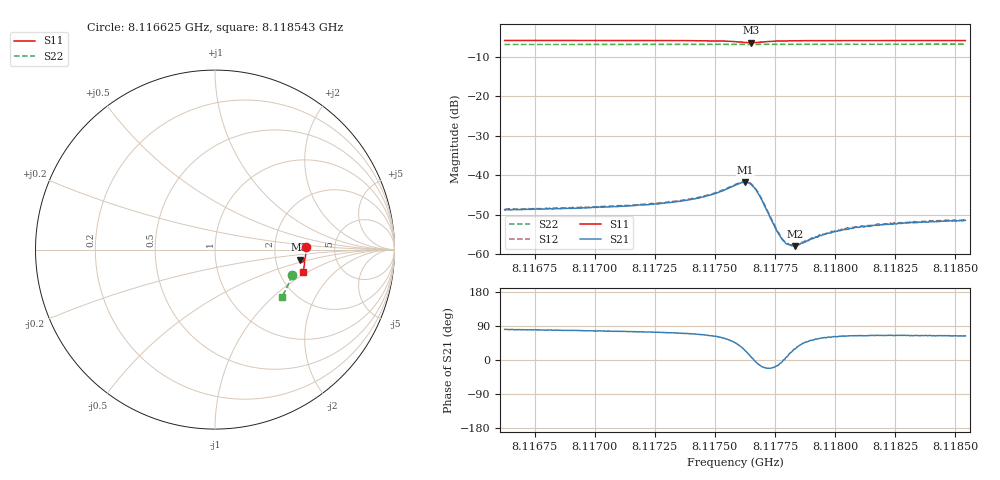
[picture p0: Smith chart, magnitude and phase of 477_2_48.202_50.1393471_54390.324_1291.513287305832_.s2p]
#  HZ  S  RI  R  50.00
! Rohde & Schwarz Vector Network Analyzer
! Rohde-Schwarz,ZNB20-2Port,1311601062101988,3.16
! Created: UTC 3/20/2024, 11:57:30 AM
! freq[Hz]  re:S11  im:S11  re:S21  im:S21  re:S12  im:S12  re:S22  im:S22
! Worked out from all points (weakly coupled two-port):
!   401 points, 8.116625 GHz to 8.118543 GHz, reference 50 ohm
!   highest |S21| = -41.81 dB at 8.117627 GHz (marker M1); lowest = -58.0 dB at 8.117833 GHz (marker M2)
!   lowest |S11| = -6.5 dB at 8.117651 GHz (marker M3), VSWR 2.80, Z = 137 - j20 ohm
!   |S11| at or under -10 dB: nowhere
!   |S22| runs from -6.9 to -6.8 dB; largest |S21 - S12| = 0.00021
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8.1166252e9  0.5069 0.0125  0.000586 0.00357  0.000639 0.00366  0.4269 -0.1434
8.1169464e9  0.5063 -0.0123  0.000837 0.00373  0.000876 0.00385  0.42 -0.1648
8.1172676e9  0.504 -0.0383  0.00127 0.00414  0.00133 0.00419  0.412 -0.1859
8.1173539e9  0.5026 -0.046  0.00151 0.0044  0.0016 0.00451  0.4099 -0.1914
8.1174498e9  0.4999 -0.0555  0.00208 0.00487  0.00216 0.00492  0.407 -0.1976
8.1175265e9  0.4948 -0.0642  0.00316 0.00537  0.00332 0.00546  0.4046 -0.2026
8.117584e9  0.4852 -0.0698  0.00518 0.00532  0.00534 0.0054  0.4026 -0.2062
8.1176272e9  0.4735 -0.0656  0.00738 0.00337  0.00756 0.00343  0.4009 -0.2085
8.1176511e9  0.471 -0.0567  0.00754 0.00104  0.00771 0.00107  0.4002 -0.2095
8.1176703e9  0.4743 -0.0501  0.00655 -0.00055  0.00665 -0.000586  0.3999 -0.2105
8.1176847e9  0.4787 -0.0473  0.00542 -0.0012  0.00555 -0.00127  0.3997 -0.2112
8.1177566e9  0.4946 -0.0531  0.00194 -0.000542  0.00197 -0.00065  0.3982 -0.216
8.1177806e9  0.4965 -0.0566  0.00153 -0.000129  0.00154 -0.000157  0.3977 -0.2176
8.1178046e9  0.4977 -0.06  0.0013 0.000255  0.00132 0.000262  0.3968 -0.2191
8.1178333e9  0.4984 -0.0635  0.0011 0.000614  0.00112 0.000655  0.3959 -0.221
8.1178573e9  0.4987 -0.0664  0.00105 0.000883  0.00105 0.000892  0.3952 -0.2226
8.1179052e9  0.4989 -0.0716  0.000965 0.00122  0.000982 0.00127  0.3937 -0.2256
8.1179676e9  0.4987 -0.0777  0.000925 0.00159  0.000951 0.00158  0.3916 -0.2294
8.1180491e9  0.4979 -0.0848  0.000922 0.00184  0.000959 0.00191  0.389 -0.2345
8.1180922e9  0.4973 -0.0885  0.000948 0.00196  0.00097 0.002  0.3874 -0.2372
8.1182264e9  0.4954 -0.0992  0.00101 0.00218  0.00104 0.00221  0.3829 -0.2454
8.1185429e9  0.49 -0.1232  0.00119 0.0024  0.00123 0.00242  0.3711 -0.2643
